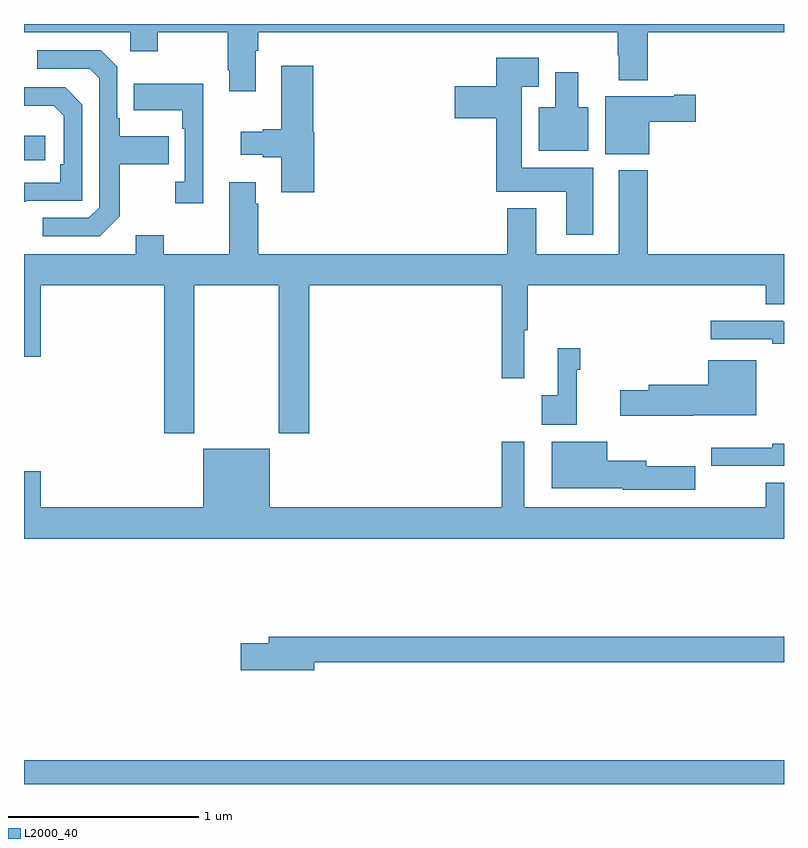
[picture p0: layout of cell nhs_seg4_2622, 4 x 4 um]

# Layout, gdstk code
import gdstk
lib = gdstk.Library(unit=1e-6, precision=1e-09)
def R(c, l, rs):  # rectangles x0, y0, x1, y1
    for r in rs: c.add(gdstk.rectangle(r[:2], r[2:], *l))
def P(c, l, *ps):  # polygons
    for p in ps: c.add(gdstk.Polygon(p, *l))
L2000_40 = (2000, 40)

nhs_seg4_2622 = lib.new_cell('nhs_seg4_2622')
R(nhs_seg4_2622, L2000_40, [(249,756.9,253,757.024), (249,760.182,249.112,760.312)])
P(nhs_seg4_2622, L2000_40, [(249,760.856),(249.558,760.856),(249.558,760.757),(249.705,760.757),(249.705,760.856),(250.072,760.856),(250.072,760.657),(250.079,760.657),(250.079,760.545),(250.219,760.545),(250.219,760.76),(250.232,760.76),(250.232,760.856),(252.124,760.856),(252.124,760.736),(252.131,760.736),(252.131,760.604),(252.284,760.604),(252.284,760.856),(253,760.856),(253,760.9),(249,760.9)],
  [(249.505,759.889),(249.505,760.162),(249.761,760.162),(249.761,760.309),(249.505,760.309),(249.505,760.405),(249.492,760.405),(249.492,760.674),(249.405,760.761),(249.069,760.761),(249.069,760.665),(249.345,760.665),(249.396,760.614),(249.396,759.933),(249.342,759.879),(249.099,759.879),(249.099,759.783),(249.399,759.783)],
  [(251.995,760.144),(251.62,760.144),(251.62,760.571),(251.71,760.571),(251.71,760.723),(251.486,760.723),(251.486,760.573),(251.268,760.573),(251.268,760.403),(251.486,760.403),(251.486,760.016),(251.855,760.016),(251.855,759.792),(251.995,759.792)],
  [(250.528,760.329),(250.523,760.329),(250.523,760.681),(250.355,760.681),(250.355,760.346),(250.256,760.346),(250.256,760.333),(250.14,760.333),(250.14,760.211),(250.256,760.211),(250.256,760.199),(250.355,760.199),(250.355,760.014),(250.528,760.014)],
  [(251.971,760.462),(251.917,760.462),(251.917,760.645),(251.795,760.645),(251.795,760.462),(251.708,760.462),(251.708,760.232),(251.971,760.232)],
  [(249.944,760.585),(249.577,760.585),(249.577,760.445),(249.834,760.445),(249.834,760.349),(249.846,760.349),(249.846,760.07),(249.795,760.07),(249.795,759.957),(249.944,759.957)],
  [(249.011,759.969),(249.306,759.969),(249.306,760.476),(249.216,760.566),(249,760.566),(249,760.469),(249.157,760.469),(249.21,760.416),(249.21,760.162),(249.19,760.162),(249.19,760.065),(249,760.065),(249,759.964),(249.011,759.964)],
  [(252.292,760.385),(252.535,760.385),(252.535,760.527),(252.422,760.527),(252.422,760.519),(252.059,760.519),(252.059,760.214),(252.292,760.214)],
  [(249.897,759.524),(250.342,759.524),(250.342,758.745),(250.502,758.745),(250.502,759.524),(251.515,759.524),(251.515,759.036),(251.633,759.036),(251.633,759.288),(251.651,759.288),(251.651,759.524),(252.905,759.524),(252.905,759.426),(253,759.426),(253,759.688),(252.284,759.688),(252.284,760.129),(252.131,760.129),(252.131,759.688),(251.695,759.688),(251.695,759.931),(251.543,759.931),(251.543,759.688),(250.232,759.688),(250.232,759.953),(250.219,759.953),(250.219,760.066),(250.079,760.066),(250.079,759.688),(249.735,759.688),(249.735,759.787),(249.587,759.787),(249.587,759.688),(249,759.688),(249,759.15),(249.088,759.15),(249.088,759.524),(249.737,759.524),(249.737,758.745),(249.897,758.745)],
  [(253,759.333),(252.995,759.333),(252.995,759.338),(252.615,759.338),(252.615,759.24),(252.938,759.24),(252.938,759.218),(253,759.218)],
  [(251.91,759.08),(251.927,759.08),(251.927,759.193),(251.81,759.193),(251.81,758.945),(251.724,758.945),(251.724,758.792),(251.91,758.792)],
  [(252.522,758.84),(252.853,758.84),(252.853,759.13),(252.602,759.13),(252.602,759.002),(252.287,759.002),(252.287,758.972),(252.138,758.972),(252.138,758.837),(252.522,758.837)],
  [(253,758.485),(252.905,758.485),(252.905,758.356),(251.632,758.356),(251.632,758.701),(251.515,758.701),(251.515,758.356),(250.294,758.356),(250.294,758.665),(249.944,758.665),(249.944,758.356),(249.088,758.356),(249.088,758.545),(249,758.545),(249,758.192),(253,758.192)],
  [(252.532,758.572),(252.274,758.572),(252.274,758.602),(252.07,758.602),(252.07,758.701),(251.777,758.701),(251.777,758.456),(252.15,758.456),(252.15,758.45),(252.532,758.45)],
  [(253,758.69),(252.938,758.69),(252.938,758.671),(252.617,758.671),(252.617,758.574),(253,758.574)],
  [(250.528,757.54),(253,757.54),(253,757.676),(250.289,757.676),(250.289,757.64),(250.14,757.64),(250.14,757.498),(250.528,757.498)])

lib.write_gds('nhs_seg4_2622.gds')
